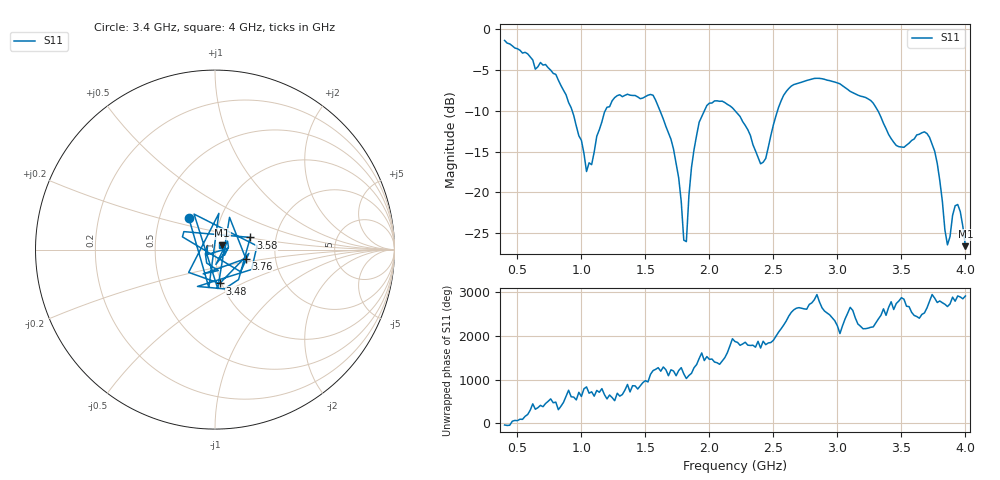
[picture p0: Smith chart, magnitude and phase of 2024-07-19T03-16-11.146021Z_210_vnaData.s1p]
!Created with skrf (http://scikit-rf.org).
# Hz S RI R 50.0
!freq ReS11 ImS11
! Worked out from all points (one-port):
!   181 points, 400 MHz to 4 GHz, reference 50 ohm
!   lowest |S11| = -26.6 dB at 4 GHz (marker M1), VSWR 1.10, Z = 54 + j2.71 ohm
!   |S11| at or under -10 dB: 1.614 GHz to 1.96 GHz (345.5 MHz wide, 19.3 % of centre); 2.201 GHz to 2.532 GHz (331.2 MHz wide, 14 % of centre); 3.317 GHz to end of sweep (the widest 3 of 4)
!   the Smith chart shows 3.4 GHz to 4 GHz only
!   S11 on the Smith chart (normalised r, x): 3.4 GHz: 0.71, +0.26; 3.48 GHz: 0.98, -0.38; 3.58 GHz: 1.47, +0.21; 3.76 GHz: 1.41, -0.14; 4 GHz: 1.08, +0.05
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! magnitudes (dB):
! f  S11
! 400 MHz  -1.4
! 860 MHz  -7.5
! 1.04 GHz  -17.4
! 1.18 GHz  -10.2
! 1.3 GHz  -8.0
! 1.56 GHz  -8.1
! 1.7 GHz  -13.5
! 1.76 GHz  -18.2
! 1.8 GHz  -25.9
! 1.82 GHz  -26.1
! 1.86 GHz  -17.0
! 1.92 GHz  -11.4
! 2.04 GHz  -8.8
! 2.2 GHz  -10.0
! 2.4 GHz  -16.5
! 2.56 GHz  -8.8
! 2.66 GHz  -6.8
! 3.1 GHz  -7.6
! 3.28 GHz  -9.1
! 3.4 GHz  -12.9
! 3.48 GHz  -14.4
! 3.56 GHz  -14.0
! 3.58 GHz  -13.6
! 3.68 GHz  -12.6
! 3.76 GHz  -15.0
! 3.86 GHz  -26.5
! 3.94 GHz  -21.5
! 4 GHz  -26.6
